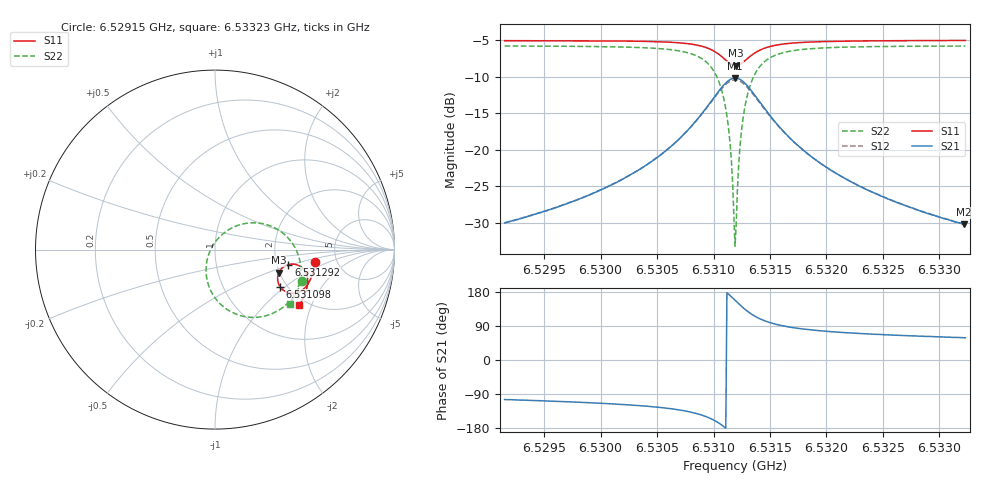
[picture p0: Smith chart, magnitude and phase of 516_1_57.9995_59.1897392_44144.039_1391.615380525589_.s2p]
#  HZ  S  RI  R  50.00
! Rohde & Schwarz Vector Network Analyzer
! Rohde-Schwarz,ZNB20-2Port,1311601062101988,3.16
! Created: UTC 3/21/2024, 1:13:23 AM
! freq[Hz]  re:S11  im:S11  re:S21  im:S21  re:S12  im:S12  re:S22  im:S22
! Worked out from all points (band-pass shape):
!   401 points, 6.52915 GHz to 6.53323 GHz, reference 50 ohm
!   highest |S21| = -10.15 dB at 6.53119 GHz (marker M1); lowest = -30.3 dB at 6.53322 GHz (marker M2)
!   |S21| within 3 dB of the highest: 6.530988 GHz to 6.531395 GHz (407.1 kHz wide, 0.00623 % of centre)
!   lowest |S11| = -8.4 dB at 6.5312 GHz (marker M3), VSWR 2.22, Z = 99.2 - j29.9 ohm
!   |S11| at or under -10 dB: nowhere
!   |S22| runs from -33.2 to -5.8 dB; largest |S21 - S12| = 0.012
!   S11 on the Smith chart (normalised r, x): 6.52915 GHz: 3.40, -0.69; 6.531098 GHz: 1.84, -0.93; 6.531292 GHz: 2.32, -0.47; 6.53323 GHz: 1.82, -1.64
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6.52915e9  0.5565 -0.07  -0.0077 -0.0305  -0.0084 -0.0304  0.4852 -0.174
6.5298334e9  0.5452 -0.1269  -0.0174 -0.0432  -0.0183 -0.0429  0.4537 -0.2375
6.5305167e9  0.5158 -0.1948  -0.0518 -0.0739  -0.0538 -0.0727  0.3712 -0.3272
6.5307513e9  0.4882 -0.2241  -0.0921 -0.0934  -0.0948 -0.0901  0.29 -0.3667
6.5309247e9  0.4438 -0.2427  -0.1608 -0.0991  -0.1631 -0.0926  0.1629 -0.3729
6.5310267e9  0.3988 -0.2366  -0.2306 -0.0719  -0.2298 -0.0624  0.0446 -0.3164
6.5310981e9  0.3637 -0.2084  -0.282 -0.0125  -0.2761 -0.00262  -0.0327 -0.2081
6.5311389e9  0.3511 -0.1799  -0.2978 0.0411  -0.2886 0.049  -0.0499 -0.1165
6.5311797e9  0.3504 -0.146  -0.2928 0.1023  -0.2817 0.1067  -0.0315 -0.0168
6.5311899e9  0.3525 -0.1376  -0.2877 0.1173  -0.2764 0.1206  -0.0207 0.00685
6.5312001e9  0.3555 -0.1294  -0.2811 0.1318  -0.2699 0.134  -0.00767 0.0293
6.5312103e9  0.3594 -0.1216  -0.273 0.1453  -0.262 0.1467  0.00766 0.0505
6.5312409e9  0.3753 -0.1014  -0.2424 0.18  -0.2326 0.1789  0.0632 0.1023
6.5312613e9  0.3883 -0.0918  -0.2184 0.1968  -0.2099 0.1944  0.1053 0.1263
6.5312919e9  0.4092 -0.0831  -0.181 0.2124  -0.1741 0.2088  0.1697 0.1458
6.5313633e9  0.453 -0.0836  -0.1043 0.2138  -0.101 0.2104  0.2985 0.1357
6.5314653e9  0.4907 -0.1066  -0.0387 0.1814  -0.0373 0.1797  0.4051 0.0671
6.5316182e9  0.5121 -0.1434  0.000376 0.1339  0.00156 0.1331  0.4634 -0.0293
6.5318732e9  0.5167 -0.1872  0.0168 0.0873  0.0178 0.087  0.4781 -0.1277
6.5325566e9  0.4972 -0.258  0.0186 0.0418  0.0191 0.0414  0.4496 -0.2446
6.5332195e9  0.4711 -0.3077  0.0159 0.0263  0.0165 0.0261  0.4156 -0.3041
6.5332297e9  0.4707 -0.3083  0.016 0.0263  0.0164 0.0259  0.4153 -0.3048
